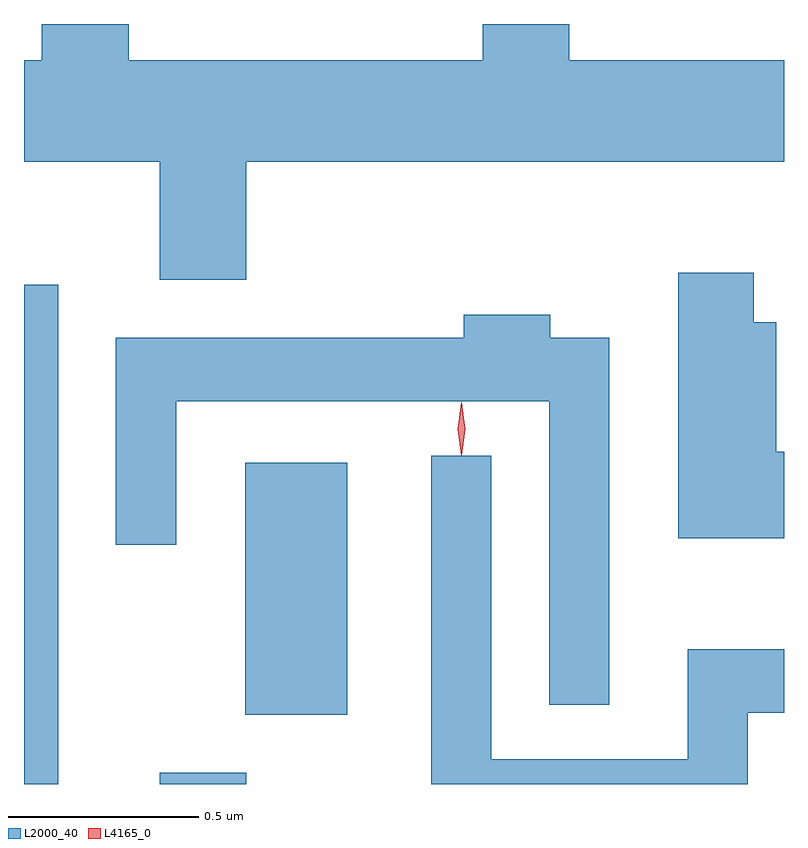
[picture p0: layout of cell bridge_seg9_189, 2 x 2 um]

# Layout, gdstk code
import gdstk
lib = gdstk.Library(unit=1e-6, precision=1e-09)
def R(c, l, rs):  # rectangles x0, y0, x1, y1
    for r in rs: c.add(gdstk.rectangle(r[:2], r[2:], *l))
def P(c, l, *ps):  # polygons
    for p in ps: c.add(gdstk.Polygon(p, *l))
L2000_40 = (2000, 40)
L4165_0 = (4165, 0)

bridge_seg9_189 = lib.new_cell('bridge_seg9_189')
R(bridge_seg9_189, L2000_40, [(1437.534,2078.979,1437.624,2080.293), (1437.891,2078.979,1438.119,2079.009), (1438.116,2079.161,1438.384,2079.824)])
P(bridge_seg9_189, L2000_40, [(1438.119,2080.616),(1439.534,2080.616),(1439.534,2080.884),(1438.969,2080.884),(1438.969,2080.979),(1438.741,2080.979),(1438.741,2080.884),(1437.809,2080.884),(1437.809,2080.979),(1437.581,2080.979),(1437.581,2080.884),(1437.534,2080.884),(1437.534,2080.616),(1437.891,2080.616),(1437.891,2080.306),(1438.119,2080.306)],
  [(1439.534,2079.854),(1439.514,2079.854),(1439.514,2080.194),(1439.454,2080.194),(1439.454,2080.324),(1439.256,2080.324),(1439.256,2079.626),(1439.534,2079.626)],
  [(1439.074,2080.154),(1438.919,2080.154),(1438.919,2080.214),(1438.691,2080.214),(1438.691,2080.154),(1437.776,2080.154),(1437.776,2079.608),(1437.934,2079.608),(1437.934,2079.986),(1438.916,2079.986),(1438.916,2079.188),(1439.074,2079.188)],
  [(1439.439,2079.166),(1439.534,2079.166),(1439.534,2079.334),(1439.281,2079.334),(1439.281,2079.044),(1438.764,2079.044),(1438.764,2079.843),(1438.606,2079.843),(1438.606,2078.979),(1439.439,2078.979)])
P(bridge_seg9_189, L4165_0, [(1438.684,2079.844),(1438.675,2079.913),(1438.684,2079.982),(1438.685,2079.983),(1438.686,2079.982),(1438.695,2079.913),(1438.686,2079.844),(1438.685,2079.844)],
  [(1438.684,2079.847),(1438.675,2079.914),(1438.684,2079.98),(1438.685,2079.98),(1438.685,2079.98),(1438.695,2079.914),(1438.685,2079.847),(1438.685,2079.847)])

lib.write_gds('bridge_seg9_189.gds')
